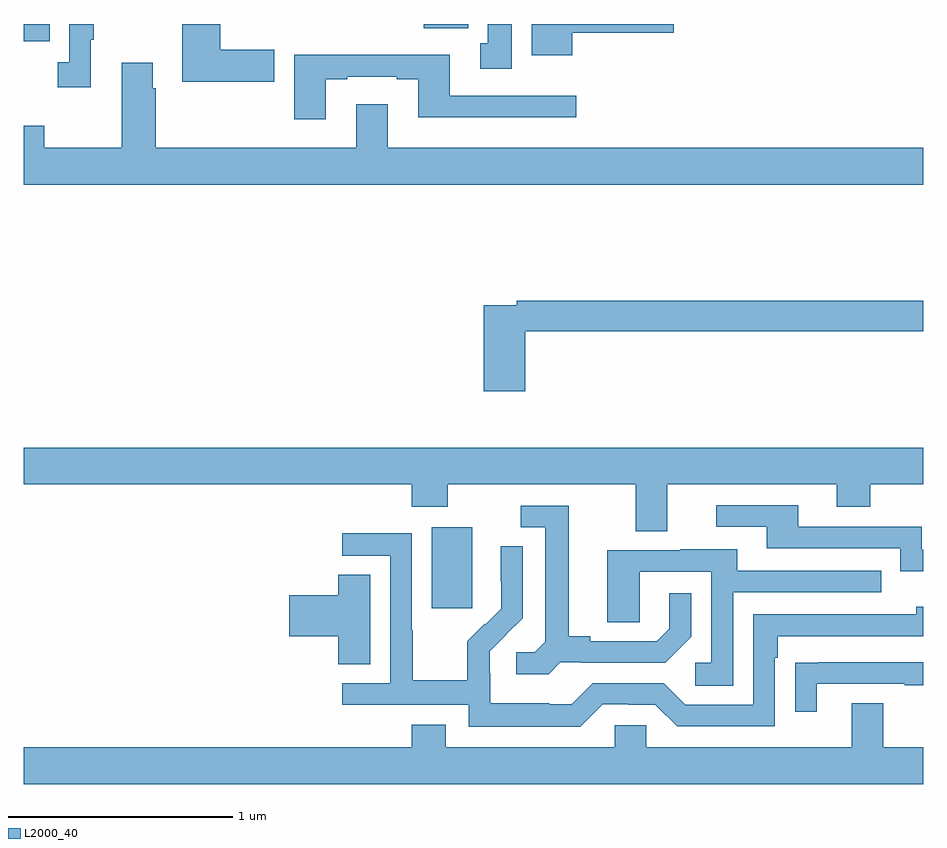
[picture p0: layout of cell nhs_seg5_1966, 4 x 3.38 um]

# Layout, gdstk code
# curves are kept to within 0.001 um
import gdstk
lib = gdstk.Library(unit=1e-6, precision=1e-09)
def R(c, l, rs):  # rectangles x0, y0, x1, y1
    for r in rs: c.add(gdstk.rectangle(r[:2], r[2:], *l))
def P(c, l, *ps):  # polygons
    for p in ps: c.add(gdstk.Polygon(p, *l))
L2000_40 = (2000, 40)

nhs_seg5_1966 = lib.new_cell('nhs_seg5_1966')
R(nhs_seg5_1966, L2000_40, [(228.815,864.201,228.994,864.562), (227,866.722,227.117,866.799), (228.779,866.78,228.976,866.799)])
P(nhs_seg5_1966, L2000_40, [(229.171,866.799),(229.064,866.799),(229.064,866.714),(229.031,866.714),(229.031,866.601),(229.171,866.601)],
  [(227.299,866.729),(227.311,866.729),(227.311,866.799),(227.202,866.799),(227.202,866.63),(227.151,866.63),(227.151,866.517),(227.299,866.517)],
  [(229.438,866.759),(229.891,866.759),(229.891,866.799),(229.259,866.799),(229.259,866.66),(229.438,866.66)],
  [(228.115,866.684),(227.874,866.684),(227.874,866.799),(227.704,866.799),(227.704,866.542),(228.115,866.542)],
  [(228.343,866.553),(228.439,866.553),(228.439,866.565),(228.659,866.565),(228.659,866.553),(228.755,866.553),(228.755,866.384),(229.456,866.384),(229.456,866.481),(228.895,866.481),(228.895,866.662),(228.203,866.662),(228.203,866.376),(228.343,866.376)],
  [(231,866.248),(228.619,866.248),(228.619,866.443),(228.479,866.443),(228.479,866.248),(227.588,866.248),(227.588,866.513),(227.575,866.513),(227.575,866.626),(227.435,866.626),(227.435,866.248),(227.091,866.248),(227.091,866.347),(227,866.347),(227,866.084),(231,866.084)],
  [(229.229,865.432),(231,865.432),(231,865.568),(229.192,865.568),(229.192,865.548),(229.046,865.548),(229.046,865.167),(229.229,865.167)],
  [(229.861,864.752),(230.615,864.752),(230.615,864.653),(230.763,864.653),(230.763,864.752),(231,864.752),(231,864.916),(227,864.916),(227,864.752),(228.725,864.752),(228.725,864.653),(228.885,864.653),(228.885,864.752),(229.721,864.752),(229.721,864.544),(229.861,864.544)],
  [(231,864.462),(230.994,864.462),(230.994,864.564),(230.443,864.564),(230.443,864.66),(230.079,864.66),(230.079,864.564),(230.303,864.564),(230.303,864.468),(230.898,864.468),(230.898,864.365),(231,864.365)],
  [(229.386,863.961),(229.48,863.961),(229.48,863.958),(229.852,863.958),(229.968,864.074),(229.968,864.268),(229.871,864.268),(229.871,864.111),(229.814,864.054),(229.519,864.054),(229.519,864.077),(229.423,864.077),(229.423,864.657),(229.209,864.657),(229.209,864.561),(229.319,864.561),(229.319,864.053),(229.272,864.006),(229.191,864.006),(229.191,863.909),(229.334,863.909)],
  [(229.575,863.775),(229.691,863.775),(229.691,863.772),(229.809,863.772),(229.905,863.676),(230.34,863.676),(230.34,863.981),(230.353,863.981),(230.353,864.078),(231,864.078),(231,864.208),(230.969,864.208),(230.969,864.174),(230.244,864.174),(230.244,863.772),(229.941,863.772),(229.845,863.868),(229.53,863.868),(229.437,863.775),(229.337,863.775),(229.337,863.779),(229.074,863.779),(229.074,863.913),(229.072,863.913),(229.072,864.01),(229.218,864.158),(229.218,864.476),(229.122,864.476),(229.122,864.322),(229.124,864.322),(229.124,864.2),(229.053,864.129),(229.05,864.132),(228.973,864.055),(228.973,863.881),(228.729,863.881),(228.729,864.104),(228.726,864.104),(228.726,864.534),(228.417,864.534),(228.417,864.435),(228.63,864.435),(228.63,863.868),(228.417,863.868),(228.417,863.772),(228.978,863.772),(228.978,863.675),(229.475,863.675)],
  [(230.154,864.273),(230.813,864.273),(230.813,864.369),(230.173,864.369),(230.173,864.463),(229.919,864.463),(229.919,864.459),(229.595,864.459),(229.595,864.139),(229.74,864.139),(229.74,864.363),(230.058,864.363),(230.058,863.958),(229.986,863.958),(229.986,863.857),(230.154,863.857)],
  [(228.541,864.35),(228.398,864.35),(228.398,864.26),(228.18,864.26),(228.18,864.077),(228.398,864.077),(228.398,863.953),(228.541,863.953)],
  [(230.527,863.865),(230.917,863.865),(230.917,863.86),(231,863.86),(231,863.961),(230.533,863.961),(230.533,863.96),(230.431,863.96),(230.431,863.742),(230.527,863.742)],
  [(231,863.584),(230.821,863.584),(230.821,863.779),(230.681,863.779),(230.681,863.584),(229.767,863.584),(229.767,863.682),(229.629,863.682),(229.629,863.584),(228.877,863.584),(228.877,863.683),(228.725,863.683),(228.725,863.584),(227,863.584),(227,863.42),(231,863.42)])

lib.write_gds('nhs_seg5_1966.gds')
